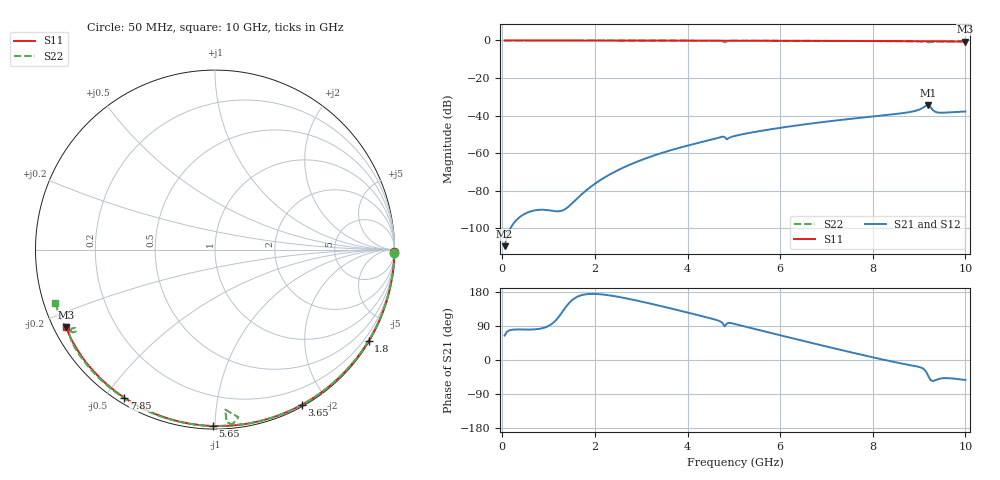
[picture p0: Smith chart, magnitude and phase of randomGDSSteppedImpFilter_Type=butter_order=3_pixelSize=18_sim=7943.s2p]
! freq	dB(S11)	phase(S11)	dB(S12)	phase(S12)
!  dB(S21)	phase(S21)	dB(S22)	phase(S22)
!S-par simulation data
#  GHz  S  DB  R 50
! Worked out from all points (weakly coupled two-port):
!   200 points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, 50 MHz to 10 GHz, reference 50 ohm
!   highest |S21| = -34.48 dB at 9.2 GHz (marker M1); lowest = -109.5 dB at 50 MHz (marker M2)
!   lowest |S11| = -0.6 dB at 10 GHz (marker M3), VSWR 30.14, Z = 1.76 - j12.3 ohm
!   |S11| at or under -10 dB: nowhere
!   |S22| runs from -1.0 to 0.0 dB; largest |S21 - S12| = 0
!   S11 on the Smith chart (normalised r, x): 50 MHz: open; 1.8 GHz: 0.03, -3.63; 3.65 GHz: 0.02, -1.70; 5.65 GHz: 0.02, -0.99; 7.85 GHz: 0.02, -0.56; 10 GHz: 0.04, -0.25
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0.05  -0.00 -0.9  -109.47 64.4  -109.47 64.4  -0.00 -0.9
0.85  -0.02 -14.7  -90.08 83.4  -90.08 83.4  -0.02 -15.9
1.75  -0.04 -29.9  -81.08 172.2  -81.08 172.2  -0.04 -32.4
1.8  -0.04 -30.8  -80.03 173.3  -80.03 173.3  -0.04 -33.3
2.15  -0.05 -36.6  -73.79 173.1  -73.79 173.1  -0.05 -39.6
2.5  -0.05 -42.4  -69.00 166.8  -69.00 166.8  -0.06 -45.8
3.4  -0.08 -56.9  -60.21 143.0  -60.21 143.0  -0.08 -61.4
3.65  -0.08 -60.8  -58.33 135.7  -58.33 135.7  -0.09 -65.7
4.65  -0.11 -76.1  -51.97 104.5  -51.97 104.5  -0.15 -83.1
4.75  -0.12 -77.6  -51.15 98.4  -51.15 98.4  -0.32 -86.1
4.8  -0.12 -78.4  -51.41 88.8  -51.41 88.8  -0.98 -86.4
4.85  -0.12 -79.1  -52.61 96.4  -52.61 96.4  -0.51 -82.0
5.05  -0.13 -82.1  -50.63 94.2  -50.63 94.2  -0.15 -87.4
5.65  -0.15 -90.8  -47.85 75.8  -47.85 75.8  -0.16 -97.4
6.7  -0.21 -105.6  -44.10 44.4  -44.10 44.4  -0.22 -113.4
7.85  -0.29 -121.4  -40.84 11.2  -40.84 11.2  -0.31 -130.5
8.35  -0.33 -128.2  -39.53 -2.4  -39.53 -2.4  -0.36 -137.9
8.9  -0.38 -135.8  -37.58 -15.7  -37.58 -15.7  -0.44 -146.6
9.2  -0.41 -140.0  -34.48 -42.5  -34.48 -42.5  -1.00 -150.7
9.3  -0.43 -141.5  -37.09 -55.5  -37.09 -55.5  -0.77 -149.7
9.4  -0.45 -142.9  -38.35 -50.9  -38.35 -50.9  -0.59 -151.5
10  -0.58 -152.4  -37.80 -52.7  -37.80 -52.7  -0.56 -161.5
